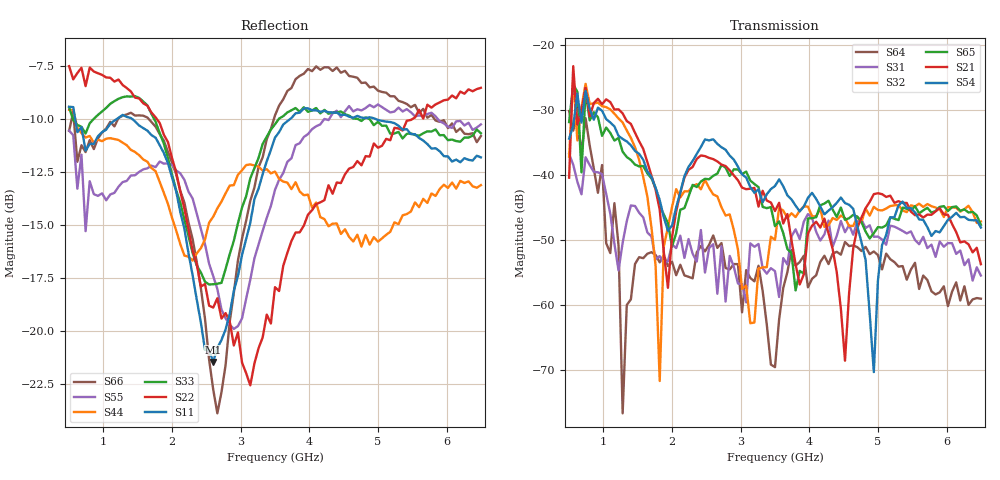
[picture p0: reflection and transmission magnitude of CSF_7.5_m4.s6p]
!Keysight Technologies,M9804A,MY58100912,A.14.10.03
!Date: Thursday, April 27, 2023 10:28:33
!Correction: S11(C  6-Port  )
!S12(C  6-Port  )
!S13(C  6-Port  )
!S14(C  6-Port  )
!S15(C  6-Port  )
!S16(C  6-Port  )
!S21(C  6-Port  )
!S22(C  6-Port  )
!S23(C  6-Port  )
!S24(C  6-Port  )
!S25(C  6-Port  )
!S26(C  6-Port  )
!S31(C  6-Port  )
!S32(C  6-Port  )
!S33(C  6-Port  )
!S34(C  6-Port  )
!S35(C  6-Port  )
!S36(C  6-Port  )
!S41(C  6-Port  )
!S42(C  6-Port  )
!S43(C  6-Port  )
!S44(C  6-Port  )
!S45(C  6-Port  )
!S46(C  6-Port  )
!S51(C  6-Port  )
!S52(C  6-Port  )
!S53(C  6-Port  )
!S54(C  6-Port  )
!S55(C  6-Port  )
!S56(C  6-Port  )
!S61(C  6-Port  )
!S62(C  6-Port  )
!S63(C  6-Port  )
!S64(C  6-Port  )
!S65(C  6-Port  )
!S66(C  6-Port  )
!S6P File: Measurement: :
# Hz S  RI  R 50
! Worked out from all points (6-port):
!   101 points, 500 MHz to 6.5 GHz, reference 50 ohm
!   strongest paths, dB at 500 MHz, 2 GHz, 3.5 GHz, 5 GHz, 6.5 GHz:
!     S54: -34.4, -47.7, -41.7, -56.1, -48.1
!     S21: -40.4, -49.5, -45.5, -42.8, -53.7
!     S65: -31.9, -51.0, -47.9, -48.0, -47.6
!     S32: -37.2, -44.9, -49.9, -45.4, -47.1
!     S31: -36.8, -50.7, -54.8, -49.4, -55.4
!     S64: -30.2, -53.3, -69.5, -52.3, -59.0
!   lowest |S11| = -21.4 dB at 2.6 GHz (marker M1), VSWR 1.19, Z = 42.5 + j2.21 ohm
!   |S11| at or under -10 dB: 589 MHz to 1.189 GHz (600.3 MHz wide, 67.5 % of centre); 1.423 GHz to 3.716 GHz (2.294 GHz wide, 89.3 % of centre); 4.974 GHz to end of sweep
